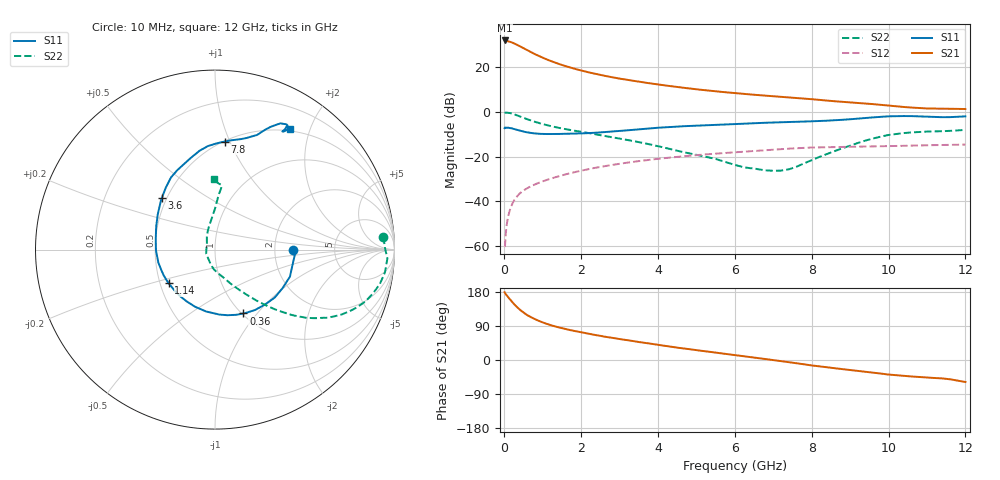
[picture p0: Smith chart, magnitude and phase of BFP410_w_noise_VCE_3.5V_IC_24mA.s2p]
! Infineon Technologies  Discrete & RF Semiconductors
! BFP410
! VCE =  3.5 V,  IC =  24 mA
! Common Emitter S-Parameters:  Nov 2015
# GHz  S  MA  R  50
!  f  S11  S21  S12  S22
! GHz  MAG  ANG  MAG  ANG  MAG  ANG  MAG  ANG
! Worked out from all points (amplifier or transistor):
!   243 points, 10 MHz to 12 GHz, reference 50 ohm
!   highest |S21| = 31.9 dB at 10 MHz (marker M1)
!   |S21| within 3 dB of that: start of sweep to 451.9 MHz
!   unconditionally stable (mu >= 1): start of sweep to 20.13 MHz; 1.752 GHz to end of sweep
!   at 240 MHz: K = 0.31, MSG = 35.4 dB, |S12| = -40.1 dB
!   at 1.84 GHz: K = 1.02, MAG = 22.2 dB, |S12| = -26.9 dB
!   at 12 GHz: K = 1.02, MAG = 7.1 dB, |S12| = -14.6 dB
!   lowest NFmin = 1.85 dB at 450 MHz
!   S11 on the Smith chart (normalised r, x): 10 MHz: 2.52, -0.02; 360 MHz: 1.02, -0.85; 1.14 GHz: 0.56, -0.23; 3.6 GHz: 0.47, +0.33; 7.8 GHz: 0.51, +0.96; 12 GHz: 0.47, +1.70
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0.01  0.4325 -0.5  39.16 179.0  0.001 115.5  0.9407 4.3
0.02  0.447 -2.7  38.79 176.4  0.001 98.3  0.9483 0.2
0.07  0.4402 -13.5  37.92 169.9  0.0032 82.2  0.9586 -4.8
0.1  0.444 -19.8  37.65 166.2  0.0045 81.1  0.9555 -7.6
0.2  0.4269 -38.8  35.39 153.8  0.0084 76.0  0.9138 -15.5
0.3  0.4037 -56.4  32.42 142.7  0.0119 72.0  0.855 -22.0
0.36  0.3896 -66.0  30.53 137.0  0.0137 69.8  0.8177 -25.2
0.5  0.363 -86.0  26.33 125.3  0.0175 66.2  0.7341 -31.1
0.6  0.3485 -98.1  23.66 118.3  0.0197 64.7  0.6819 -34.1
0.7  0.3373 -109.1  21.36 112.6  0.0219 63.6  0.6362 -36.7
0.9  0.3243 -127.1  17.64 103.1  0.026 62.3  0.5626 -40.4
1.14  0.3187 -144.0  14.39 94.3  0.0308 61.5  0.4958 -43.6
1.52  0.3213 -163.8  10.97 83.6  0.0385 60.3  0.4216 -47.5
2.02  0.3296 176.8  8.277 72.6  0.0489 57.8  0.3559 -51.5
2.72  0.3578 155.3  6.103 59.9  0.0634 53.0  0.2785 -57.3
3.6  0.4129 135.8  4.563 46.1  0.0812 46.1  0.2025 -66.1
4.1  0.4459 127.1  3.968 38.6  0.0911 41.8  0.1634 -73.1
6.1  0.5364 103.0  2.569 11.7  0.1264 24.4  0.0618 -128.4
7.8  0.6048 84.7  1.972 -11.3  0.1564 7.5  0.0704 130.1
8.2  0.6226 79.3  1.843 -16.8  0.1605 3.0  0.0983 115.6
10.2  0.7977 61.4  1.328 -40.1  0.1727 -13.4  0.3196 85.4
12  0.7905 58.2  1.154 -58.0  0.1857 -29.2  0.3946 91.1
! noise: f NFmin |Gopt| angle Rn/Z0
0.45  1.85  0.17  -160  0.18
0.9  1.85  0.2  -157  0.16
1.8  2  0.24  -139  0.19
2.4  2  0.28  -125  0.24
5.5  2.89  0.46  -101  0.5
10  4.02  0.72  -45  2.79
